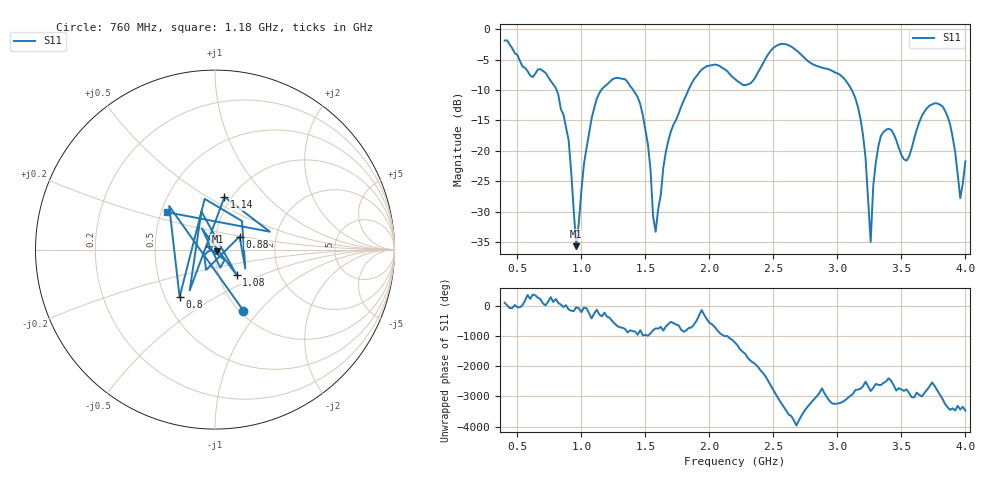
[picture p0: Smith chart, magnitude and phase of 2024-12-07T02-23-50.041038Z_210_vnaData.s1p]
!Created with skrf (http://scikit-rf.org).
# Hz S RI R 50.0
!freq ReS11 ImS11
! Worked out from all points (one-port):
!   181 points, 400 MHz to 4 GHz, reference 50 ohm
!   lowest |S11| = -35.6 dB at 960 MHz (marker M1), VSWR 1.03, Z = 51.3 - j0.996 ohm
!   |S11| at or under -10 dB: 806 MHz to 1.156 GHz (349.6 MHz wide, 35.6 % of centre); 1.405 GHz to 1.836 GHz (431.2 MHz wide, 26.6 % of centre); 3.112 GHz to end of sweep
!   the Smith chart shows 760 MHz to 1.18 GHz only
!   S11 on the Smith chart (normalised r, x): 760 MHz: 1.04, -0.83; 800 MHz: 0.59, -0.35; 880 MHz: 1.30, +0.19; 1.08 GHz: 1.22, -0.35; 1.14 GHz: 0.93, +0.60; 1.18 GHz: 0.54, +0.25
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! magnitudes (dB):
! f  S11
! 400 MHz  -1.9
! 760 MHz  -8.5
! 800 MHz  -9.7
! 860 MHz  -14.0
! 880 MHz  -16.2
! 960 MHz  -35.6
! 1.08 GHz  -14.6
! 1.14 GHz  -10.5
! 1.18 GHz  -9.5
! 1.3 GHz  -8.1
! 1.46 GHz  -12.3
! 1.52 GHz  -19.0
! 1.58 GHz  -33.3
! 1.66 GHz  -20.1
! 1.76 GHz  -13.8
! 1.96 GHz  -6.3
! 2.2 GHz  -8.2
! 2.66 GHz  -3.2
! 3.1 GHz  -9.5
! 3.2 GHz  -17.4
! 3.26 GHz  -34.9
! 3.28 GHz  -25.8
! 3.34 GHz  -17.5
! 3.56 GHz  -20.9
! 3.78 GHz  -12.2
! 3.88 GHz  -15.6
! 3.96 GHz  -27.8
! 4 GHz  -21.7
